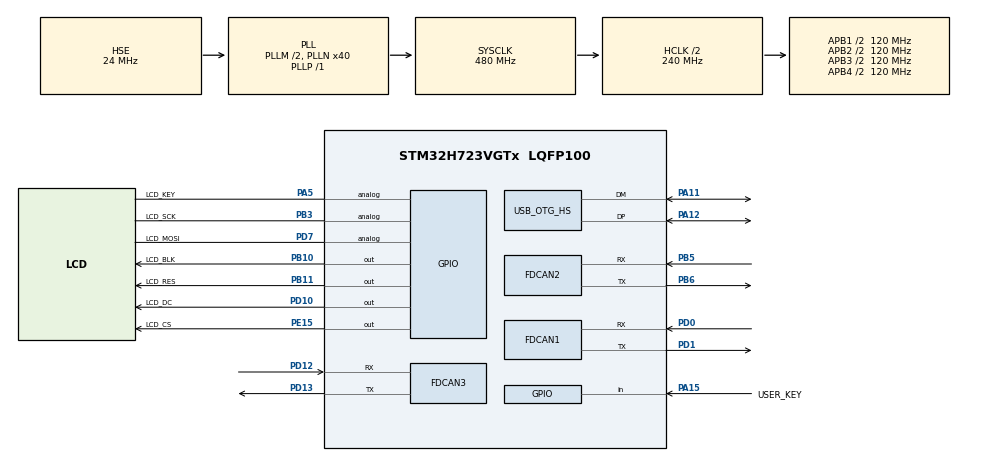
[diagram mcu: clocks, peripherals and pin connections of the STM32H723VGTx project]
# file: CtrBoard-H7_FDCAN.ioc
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CORTEX_M7.CPU_DCache=Enabled
CORTEX_M7.CPU_ICache=Enabled
FDCAN1.AutoRetransmission=ENABLE
FDCAN1.CalculateBaudRateNominal=1000000
FDCAN1.CalculateTimeBitNominal=1000
FDCAN1.CalculateTimeQuantumNominal=12.5
FDCAN1.DataSyncJumpWidth=2
FDCAN1.DataTimeSeg1=13
FDCAN1.DataTimeSeg2=2
FDCAN1.ExtFiltersNbr=4
FDCAN1.Mode=FDCAN_MODE_NORMAL
FDCAN1.NominalPrescaler=1
FDCAN1.NominalSyncJumpWidth=20
FDCAN1.NominalTimeSeg1=59
FDCAN1.NominalTimeSeg2=20
FDCAN1.ProtocolException=ENABLE
FDCAN1.RxBuffersNbr=2
FDCAN1.RxFifo0ElmtsNbr=8
FDCAN1.RxFifo1ElmtsNbr=8
FDCAN1.StdFiltersNbr=7
FDCAN1.TransmitPause=DISABLE
FDCAN1.TxBuffersNbr=8
FDCAN1.TxEventsNbr=8
FDCAN1.TxFifoQueueElmtsNbr=8
FDCAN2.AutoRetransmission=ENABLE
FDCAN2.CalculateBaudRateNominal=1000000
FDCAN2.CalculateTimeBitNominal=1000
FDCAN2.CalculateTimeQuantumNominal=12.5
FDCAN2.DataSyncJumpWidth=2
FDCAN2.DataTimeSeg1=13
FDCAN2.ExtFiltersNbr=4
FDCAN2.MessageRAMOffset=0x406
FDCAN2.Mode=FDCAN_MODE_NORMAL
FDCAN2.NominalPrescaler=1
FDCAN2.NominalSyncJumpWidth=20
FDCAN2.NominalTimeSeg1=59
FDCAN2.NominalTimeSeg2=20
FDCAN2.ProtocolException=ENABLE
FDCAN2.RxBuffersNbr=3
FDCAN2.RxFifo0ElmtsNbr=8
FDCAN2.RxFifo1ElmtsNbr=8
FDCAN2.StdFiltersNbr=4
FDCAN2.TxBuffersNbr=8
FDCAN2.TxEventsNbr=8
FDCAN2.TxFifoQueueElmtsNbr=8
FDCAN3.CalculateBaudRateNominal=1000000
FDCAN3.CalculateTimeBitNominal=1000
FDCAN3.CalculateTimeQuantumNominal=12.5
FDCAN3.DataSyncJumpWidth=2
FDCAN3.DataTimeSeg1=13
FDCAN3.DataTimeSeg2=2
FDCAN3.ExtFiltersNbr=4
FDCAN3.MessageRAMOffset=0x812
FDCAN3.Mode=FDCAN_MODE_NORMAL
FDCAN3.NominalPrescaler=1
FDCAN3.NominalSyncJumpWidth=20
FDCAN3.NominalTimeSeg1=59
FDCAN3.NominalTimeSeg2=20
FDCAN3.RxBuffersNbr=2
FDCAN3.RxFifo0ElmtsNbr=8
FDCAN3.RxFifo1ElmtsNbr=8
FDCAN3.StdFiltersNbr=4
FDCAN3.TxBuffersNbr=8
FDCAN3.TxEventsNbr=8
FDCAN3.TxFifoQueueElmtsNbr=8
FREERTOS.INCLUDE_uxTaskGetStackHighWaterMark=1
FREERTOS.INCLUDE_vTaskDelayUntil=1
FREERTOS.Tasks01=ArmControlTask,3,1280,StartArmControlTask,Default,NULL,Static,armControlTaskBuffer,armControlTaskControlBlock;CanRxTask,3,384,StartCanRxTask,Default,NULL,Static,canRxTaskBuffer,canRxTaskControlBlock;ProtocolTask,2,1280,StartProtocolTask,Default,NULL,Static,protocolTaskBuffer,protocolTaskControlBlock;UsbTxTask,1,384,StartUsbTxTask,Default,NULL,Static,usbTxTaskBuffer,usbTxTaskControlBlock;TelemetryTask,0,1024,StartTelemetryTask,Default,NULL,Static,telemetryTaskBuffer,telemetryTaskControlBlock;DiagnosticsTask,-1,384,StartDiagnosticsTask,Default,NULL,Static,diagnosticsTaskBuffer,diagnosticsTaskControlBlock
Mcu.Family=STM32H7
Mcu.Name=STM32H723VGTx
Mcu.Package=LQFP100
NVIC.FDCAN1_IT0_IRQn=true\:5\:0\:false\:false\:true\:true\:true\:true\:true
NVIC.FDCAN1_IT1_IRQn=true\:5\:0\:false\:false\:true\:true\:true\:true\:true
NVIC.FDCAN2_IT0_IRQn=true\:5\:0\:false\:false\:true\:true\:true\:true\:true
NVIC.FDCAN2_IT1_IRQn=true\:5\:0\:false\:false\:true\:true\:true\:true\:true
NVIC.FDCAN3_IT0_IRQn=true\:5\:0\:false\:false\:true\:true\:true\:true\:true
NVIC.FDCAN3_IT1_IRQn=true\:5\:0\:false\:false\:true\:true\:true\:true\:true
NVIC.OTG_HS_IRQn=true\:5\:0\:false\:false\:true\:true\:false\:true\:true
NVIC.PriorityGroup=NVIC_PRIORITYGROUP_4
NVIC.TIM23_IRQn=true\:15\:0\:false\:false\:true\:false\:false\:true\:true
NVIC.TimeBase=TIM23_IRQn
NVIC.TimeBaseIP=TIM23
PA11.Mode=Device_Only_FS
PA11.Signal=USB_OTG_HS_DM
PA12.Mode=Device_Only_FS
PA12.Signal=USB_OTG_HS_DP
PA13(JTMS/SWDIO).Mode=Serial_Wire
PA13(JTMS/SWDIO).Signal=DEBUG_JTMS-SWDIO
PA14(JTCK/SWCLK).Mode=Serial_Wire
PA14(JTCK/SWCLK).Signal=DEBUG_JTCK-SWCLK
PA15(JTDI).GPIO_Label=USER_KEY
PA15(JTDI).Signal=GPIO_Input
# LCD pins are reserved here at safe GPIO levels. App/Platform owns optional
# SPI1/DMA1_Stream0/ADC1 setup and IRQ enable; do not generate duplicate handles.
PA5.GPIO_Label=LCD_KEY
PA5.Signal=GPIO_Analog
PB10.GPIO_Label=LCD_BLK
PB10.Signal=GPIO_Output
PB11.GPIO_Label=LCD_RES
PB11.Signal=GPIO_Output
PB3(JTDO/TRACESWO).GPIO_Label=LCD_SCK
PB3(JTDO/TRACESWO).Signal=GPIO_Analog
PB5.Mode=FDCAN_Activate
PB5.Signal=FDCAN2_RX
PB6.Mode=FDCAN_Activate
PB6.Signal=FDCAN2_TX
PD0.Mode=FDCAN_Activate
PD0.Signal=FDCAN1_RX
PD1.Mode=FDCAN_Activate
PD1.Signal=FDCAN1_TX
PD7.GPIO_Label=LCD_MOSI
PD7.Signal=GPIO_Analog
PD10.GPIO_Label=LCD_DC
PD10.Signal=GPIO_Output
PD12.Mode=FDCAN_Activate
PD12.Signal=FDCAN3_RX
PD13.Mode=FDCAN_Activate
PD13.Signal=FDCAN3_TX
PE15.GPIO_Label=LCD_CS
PE15.PinState=GPIO_PIN_SET
PE15.Signal=GPIO_Output
PH0-OSC_IN.Mode=HSE-External-Oscillator
PH0-OSC_IN.Signal=RCC_OSC_IN
PH1-OSC_OUT.Mode=HSE-External-Oscillator
PH1-OSC_OUT.Signal=RCC_OSC_OUT
ProjectManager.HeapSize=0x200
ProjectManager.StackSize=0x400
ProjectManager.TargetToolchain=MDK-ARM V5.32
RCC.ADCFreq_Value=48375000
RCC.APB1Freq_Value=120000000
RCC.APB2Freq_Value=120000000
RCC.APB3Freq_Value=120000000
RCC.APB4Freq_Value=120000000
RCC.CortexFreq_Value=480000000
RCC.D1PPRE=RCC_APB3_DIV2
RCC.D2PPRE1=RCC_APB1_DIV2
RCC.D2PPRE2=RCC_APB2_DIV2
RCC.D3PPRE=RCC_APB4_DIV2
RCC.DIVM1=2
RCC.DIVN1=40
RCC.DIVP1=1
RCC.DIVQ1=6
RCC.HCLKFreq_Value=240000000
RCC.HPRE=RCC_HCLK_DIV2
RCC.HSE_VALUE=24000000
RCC.PLLFRACN=0
RCC.PLLSourceVirtual=RCC_PLLSOURCE_HSE
RCC.SYSCLKFreq_VALUE=480000000
RCC.SYSCLKSource=RCC_SYSCLKSOURCE_PLLCLK
RCC.USBCLockSelection=RCC_USBCLKSOURCE_HSI48
RCC.USBFreq_Value=48000000
USB_DEVICE.CLASS_NAME_HS=CDC
USB_DEVICE.VirtualMode=Cdc
USB_DEVICE.VirtualModeHS=Cdc_HS
USB_OTG_HS.VirtualMode-Device_Only_FS=Device_Only_FS
VP_FREERTOS_VS_CMSIS_V1.Mode=CMSIS_V1
VP_SYS_VS_tim23.Mode=TIM23
VP_USB_DEVICE_VS_USB_DEVICE_CDC_HS.Mode=CDC_HS
board=custom

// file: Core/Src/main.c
/* USER CODE BEGIN Header */
/**
  ******************************************************************************
  * @file           : main.c
  * @brief          : Main program body
  ******************************************************************************
  * @attention
  *
  * Copyright (c) 2024 STMicroelectronics.
  * All rights reserved.
  *
  * This software is licensed under terms that can be found in the LICENSE file
  * in the root directory of this software component.
  * If no LICENSE file comes with this software, it is provided AS-IS.
  *
  ******************************************************************************
  */
/* USER CODE END Header */
#include "main.h"
#include "cmsis_os.h"
#include "fdcan.h"
#include "usb_device.h"
#include "gpio.h"

/* USER CODE BEGIN Includes */
#include "aethor_app.h"
#include "arm_config.h"
#include "stm32_platform.h"
#include "usbd_cdc_if.h"
#if AETHOR_ADRC_BENCH || AETHOR_ADRC_LCD_INTEGRATED
#include "stm32_adrc_channel.h"
#endif
/* USER CODE END Includes */

void SystemClock_Config(void);
void MX_FREERTOS_Init(void);
/* USER CODE BEGIN PFP */
static uint32_t CreateBootId(void);

/* USER CODE END PFP */

int main(void)
{

  /* Enable the CPU Cache */

  /* Enable I-Cache---------------------------------------------------------*/
  SCB_EnableICache();

  /* Enable D-Cache---------------------------------------------------------*/
  SCB_EnableDCache();

  /* MCU Configuration--------------------------------------------------------*/

  /* Reset of all peripherals, Initializes the Flash interface and the Systick. */
  HAL_Init();

  /* Configure the system clock */
  SystemClock_Config();

  /* Initialize all configured peripherals */
  MX_GPIO_Init();
  MX_FDCAN1_Init();
  MX_FDCAN2_Init();
  MX_FDCAN3_Init();
  /* USER CODE BEGIN 2 */
  (void)stm32_platform_init(arm_config_get_production());
  aethor_app_init((uint64_t)HAL_GetTick() * 1000ULL, CreateBootId());
#if defined(AETHOR_MOTOR_PERSISTENCE_TRANSPORT) && AETHOR_MOTOR_PERSISTENCE_TRANSPORT
  aethor_app_bind_remote_release_probes(stm32_platform_remote_release_is_idle, CDC_PersistenceLinkState_HS);
#endif
  /* USER CODE END 2 */

  /* Call init function for freertos objects (in cmsis_os2.c) */
  MX_FREERTOS_Init();

  /* Start scheduler */
  osKernelStart();

  /* We should never get here as control is now taken by the scheduler */

  /* Infinite loop */
  while (1)
  {

  }
}

void SystemClock_Config(void)
{
  RCC_OscInitTypeDef RCC_OscInitStruct = {0};
  RCC_ClkInitTypeDef RCC_ClkInitStruct = {0};

  /** Supply configuration update enable
  */
  HAL_PWREx_ConfigSupply(PWR_LDO_SUPPLY);

  /** Configure the main internal regulator output voltage
  */
  __HAL_PWR_VOLTAGESCALING_CONFIG(PWR_REGULATOR_VOLTAGE_SCALE0);

  while(!__HAL_PWR_GET_FLAG(PWR_FLAG_VOSRDY)) {}

  /** Initializes the RCC Oscillators according to the specified parameters
  * in the RCC_OscInitTypeDef structure.
  */
  RCC_OscInitStruct.OscillatorType = RCC_OSCILLATORTYPE_HSI48|RCC_OSCILLATORTYPE_HSE;
  RCC_OscInitStruct.HSEState = RCC_HSE_ON;
  RCC_OscInitStruct.HSI48State = RCC_HSI48_ON;
  RCC_OscInitStruct.PLL.PLLState = RCC_PLL_ON;
  RCC_OscInitStruct.PLL.PLLSource = RCC_PLLSOURCE_HSE;
  RCC_OscInitStruct.PLL.PLLM = 2;
  RCC_OscInitStruct.PLL.PLLN = 40;
  RCC_OscInitStruct.PLL.PLLP = 1;
  RCC_OscInitStruct.PLL.PLLQ = 6;
  RCC_OscInitStruct.PLL.PLLR = 2;
  RCC_OscInitStruct.PLL.PLLRGE = RCC_PLL1VCIRANGE_3;
  RCC_OscInitStruct.PLL.PLLVCOSEL = RCC_PLL1VCOWIDE;
  RCC_OscInitStruct.PLL.PLLFRACN = 0;
  if (HAL_RCC_OscConfig(&RCC_OscInitStruct) != HAL_OK)
  {
    Error_Handler();
  }

  /** Initializes the CPU, AHB and APB buses clocks
  */
  RCC_ClkInitStruct.ClockType = RCC_CLOCKTYPE_HCLK|RCC_CLOCKTYPE_SYSCLK
                              |RCC_CLOCKTYPE_PCLK1|RCC_CLOCKTYPE_PCLK2
                              |RCC_CLOCKTYPE_D3PCLK1|RCC_CLOCKTYPE_D1PCLK1;
  RCC_ClkInitStruct.SYSCLKSource = RCC_SYSCLKSOURCE_PLLCLK;
  RCC_ClkInitStruct.SYSCLKDivider = RCC_SYSCLK_DIV1;
  RCC_ClkInitStruct.AHBCLKDivider = RCC_HCLK_DIV2;
  RCC_ClkInitStruct.APB3CLKDivider = RCC_APB3_DIV2;
  RCC_ClkInitStruct.APB1CLKDivider = RCC_APB1_DIV2;
  RCC_ClkInitStruct.APB2CLKDivider = RCC_APB2_DIV2;
  RCC_ClkInitStruct.APB4CLKDivider = RCC_APB4_DIV2;

  if (HAL_RCC_ClockConfig(&RCC_ClkInitStruct, FLASH_LATENCY_3) != HAL_OK)
  {
    Error_Handler();
  }
}

/* USER CODE BEGIN 4 */

/**
  * @brief  Creates a nonzero per-boot correlation identifier from local MCU state.
  * @retval Nonzero boot identifier used by the serial protocol.
  */
static uint32_t CreateBootId(void)
{
  uint32_t bootId = HAL_GetUIDw0() ^ HAL_GetUIDw1() ^ HAL_GetUIDw2() ^
                    HAL_GetTick() ^ SysTick->VAL ^ DWT->CYCCNT ^ 0xA37E2026UL;

  if (bootId == 0U)
  {
    bootId = 1U;
  }
  return bootId;
}

/* USER CODE END 4 */

void HAL_TIM_PeriodElapsedCallback(TIM_HandleTypeDef *htim)
{
  if (htim->Instance == TIM23) {
    HAL_IncTick();
#if AETHOR_ADRC_BENCH || AETHOR_ADRC_LCD_INTEGRATED
    /* Preloaded DISABLE remains serviceable when the control task stops scheduling. */
    stm32_adrc_guard_tick_isr(HAL_GetTick());
#endif
  }
}

void Error_Handler(void)
{
  __disable_irq();
  while (1)
  {
  }
}

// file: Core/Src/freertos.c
/* USER CODE BEGIN Header */
/**
  ******************************************************************************
  * File Name          : freertos.c
  * Description        : Code for freertos applications
  * Maintenance CAN bridging is opt-in; default builds retain the existing transport.
  ******************************************************************************
  * @attention
  *
  * Copyright (c) 2026 STMicroelectronics.
  * All rights reserved.
  *
  * This software is licensed under terms that can be found in the LICENSE file
  * in the root directory of this software component.
  * If no LICENSE file comes with this software, it is provided AS-IS.
  *
  ******************************************************************************
  */
/* USER CODE END Header */

#include "FreeRTOS.h"
#include "task.h"
#include "main.h"
#include "cmsis_os.h"

/* USER CODE BEGIN Includes */
#include "aethor_app.h"
#include "monotonic_time.h"
#include "stm32_platform.h"
#include "debug_ui_config.h"
#include "aethor_task_stacks.h"
#include "adrc_build_config.h"
#if AETHOR_MOTOR_PERSISTENCE_TRANSPORT
#include "motor_persistence_app_port.h"
#include "usbd_cdc_if.h"
#endif
#if AETHOR_ADRC_BENCH || AETHOR_ADRC_LCD_INTEGRATED
#include "stm32_adrc_channel.h"
#if TICK_INT_PRIORITY >= configLIBRARY_MAX_SYSCALL_INTERRUPT_PRIORITY
#error "ADRC stop timer must remain above the FreeRTOS BASEPRI mask."
#endif
#endif
#if AETHOR_DEBUG_UI_ENABLE
#include "debug_ui_task.h"
#endif
#include <string.h>
/* USER CODE END Includes */

/* USER CODE BEGIN PD */
#if AETHOR_DEBUG_UI_ENABLE
#define AETHOR_STATIC_TASK_COUNT (7U)
#else
#define AETHOR_STATIC_TASK_COUNT (6U)
#endif
/* USER CODE END PD */

/* USER CODE BEGIN Variables */
static AethorMonotonicTimeState aethorMonotonicTimeState;
#if AETHOR_DEBUG_UI_ENABLE
static osThreadId DebugUiTaskHandle;
static uint32_t debugUiTaskBuffer[2048];
static osStaticThreadDef_t debugUiTaskControlBlock;
static uint32_t controlExecutionMaxUs;
static uint32_t controlPeriodMaxUs;
static uint32_t controlPreviousCycle;
static uint8_t controlCycleValid;
#endif
/* USER CODE END Variables */
osThreadId ArmControlTaskHandle;
uint32_t armControlTaskBuffer[ 1280 ];
osStaticThreadDef_t armControlTaskControlBlock;
osThreadId CanRxTaskHandle;
uint32_t canRxTaskBuffer[ AETHOR_CAN_RX_TASK_STACK_WORDS ];
osStaticThreadDef_t canRxTaskControlBlock;
osThreadId ProtocolTaskHandle;
uint32_t protocolTaskBuffer[ AETHOR_PROTOCOL_TASK_STACK_WORDS ];
osStaticThreadDef_t protocolTaskControlBlock;
osThreadId UsbTxTaskHandle;
uint32_t usbTxTaskBuffer[ 384 ];
osStaticThreadDef_t usbTxTaskControlBlock;
osThreadId TelemetryTaskHandle;
uint32_t telemetryTaskBuffer[ 1024 ];
osStaticThreadDef_t telemetryTaskControlBlock;
osThreadId DiagnosticsTaskHandle;
uint32_t diagnosticsTaskBuffer[ AETHOR_DIAGNOSTICS_TASK_STACK_WORDS ];
osStaticThreadDef_t diagnosticsTaskControlBlock;

/* USER CODE BEGIN FunctionPrototypes */
static void NotifyCanRxTaskFromIsr(void);
static void NotifyProtocolTaskFromIsr(void);
static void NotifyUsbTxTaskFromIsr(void);
static void QueueProtocolOutputBatch(const ProtocolOutputBatch *outputBatch);
static uint64_t AethorMonotonicTimestampUs(void);
static void EnterAethorAppTaskCritical(void);
static void ExitAethorAppTaskCritical(void);
/* BEGIN_PERSISTENCE_CORE_BRIDGE */
#if AETHOR_MOTOR_PERSISTENCE_TRANSPORT
/** @brief Recheck the entire USB callback word under Platform's IRQ mask before committing the parameter pair. */
static uint8_t PersistenceParameterSubmitted(const MotorPersistenceIdentity *identity, uint64_t boundaryUs)
{
  aethor_app_persistence_observe_link(CDC_PersistenceLinkState_HS(), boundaryUs);
  return aethor_app_persistence_parameter_submitted(identity, boundaryUs);
}

/** @brief Recheck the current USB binding before committing the independent maintenance DISABLE identity. */
static uint8_t PersistenceDisableSubmitted(const DebugUiStaticTxIdentity *identity, uint64_t boundaryUs)
{
  aethor_app_persistence_observe_link(CDC_PersistenceLinkState_HS(), boundaryUs);
  return aethor_app_persistence_disable_submitted(identity, boundaryUs);
}

/** @brief Cancel only the outstanding original identity; Platform retains ownership until its hardware debt clears. */
static void CancelPersistenceTransfer(void)
{
  MotorPersistenceIdentity identity;
  if (aethor_app_persistence_cancel_identity(&identity))
  { (void)stm32_platform_can_cancel_persistence(&identity); }
}

/** @brief Sole maintenance receipt consumer preserves immutable identity and completion-observation time. */
static void CollectPersistenceReceipt(uint64_t observedUs)
{
  MotorPersistenceIdentity identity;
  uint64_t completedObservedUs;
  uint8_t succeeded;
  CancelPersistenceTransfer();
  if (stm32_platform_can_collect_persistence(&identity, observedUs, &completedObservedUs, &succeeded))
  { aethor_app_persistence_parameter_transmitted(&identity, succeeded, completedObservedUs, observedUs); }
}

/** @brief Route one immutable maintenance pair before legacy byte classifiers; refusal never falls through or retries. */
static void ServicePersistenceTransfer(uint64_t observedUs)
{
  AethorPersistenceTransfer transfer;
  uint8_t accepted = 0U;
  CancelPersistenceTransfer();
  if (!aethor_app_persistence_next_transfer(observedUs, &transfer)) return;
  if (transfer.kind == AETHOR_PERSISTENCE_TRANSFER_PARAMETER)
  {
    accepted = stm32_platform_can_submit_persistence(&transfer.frame, &transfer.parameter_identity,
        observedUs, MOTOR_PERSISTENCE_FRAME_BUDGET_US, PersistenceParameterSubmitted);
  }
  else if (transfer.kind == AETHOR_PERSISTENCE_TRANSFER_DISABLE)
  {
    accepted = stm32_platform_can_submit_static(&transfer.frame, &transfer.disable_identity,
        aethor_app_debug_ui_preflight_timeout_us(), PersistenceDisableSubmitted);
  }
  if (!accepted) aethor_app_persistence_transfer_rejected(&transfer, observedUs);
}
#endif
/* END_PERSISTENCE_CORE_BRIDGE */
#if AETHOR_DEBUG_UI_ALLOW_MOTION && (AETHOR_DEBUG_UI_ALLOW_STATIC_LOAD || AETHOR_DEBUG_UI_ALLOW_SINGLE_STATIC_LOAD || AETHOR_DEBUG_UI_ALLOW_POS_LOAD_TEST)
/** @brief Forward only the dedicated LCD DISABLE receipt; polling time never becomes feedback time. */
static void CollectSingleStaticReceipt(void)
{
  DebugUiStaticTxIdentity identity;
  uint8_t succeeded;
  uint16_t sof;
  if (stm32_platform_can_collect_static(&identity, &succeeded, &sof))
  {
    uint64_t observedUs = AethorMonotonicTimestampUs();
#if AETHOR_MOTOR_PERSISTENCE_TRANSPORT
    if (aethor_app_persistence_disable_transmitted(&identity, succeeded, sof, observedUs)) return;
#endif
    aethor_app_static_transmitted(&identity, succeeded, sof, observedUs);
  }
}
/* BEGIN_SINGLE_STATIC_RX_BRIDGE */
/** @brief Decode the immutable SOF tag and full strict identity; raw RX remains separate from accepted decode. */
static void ReceiveSingleStaticFrame(const CanFrame *frame, uint64_t arrivalLowerUs, uint64_t observedUs)
{
  DebugUiStaticTxIdentity orderedIdentity;
  uint16_t sof = 0U;
  uint8_t ordered, sofValid = 0U;
  CollectSingleStaticReceipt();
  ordered = stm32_platform_can_static_rx_identity(frame, &orderedIdentity, &sof, &sofValid);
#if AETHOR_MOTOR_PERSISTENCE_TRANSPORT
  /* A collected receipt can cross a board tick; retain arrival/SOF and refresh only the decode upper bound. */
  observedUs = AethorMonotonicTimestampUs();
  if (aethor_app_persistence_receive(frame, arrivalLowerUs, observedUs,
      ordered ? &orderedIdentity : NULL, sof, sofValid)) return;
#endif
  (void)aethor_app_receive_static_frame(frame, arrivalLowerUs, observedUs, ordered ? &orderedIdentity : NULL, sof, sofValid);
}
/* END_SINGLE_STATIC_RX_BRIDGE */
#endif
#if AETHOR_ADRC_BENCH || AETHOR_ADRC_LCD_INTEGRATED
/** @brief Forwards only the fixed capability FIFO receipt under the caller's task critical boundary. */
static void CollectCapabilityReceipt(uint64_t observed_us)
{
  CanFrame receiptFrame;
  uint8_t succeeded;
  if (stm32_platform_can_collect_capability_receipt(&receiptFrame, &succeeded))
  { aethor_app_adrc_report_capability_transmit(&receiptFrame, succeeded, observed_us); }
}
#endif

/* USER CODE END FunctionPrototypes */

void StartArmControlTask(void const * argument);
void StartCanRxTask(void const * argument);
void StartProtocolTask(void const * argument);
void StartUsbTxTask(void const * argument);
void StartTelemetryTask(void const * argument);
void StartDiagnosticsTask(void const * argument);

extern void MX_USB_DEVICE_Init(void);
void MX_FREERTOS_Init(void); /* (MISRA C 2004 rule 8.1) */

/* GetIdleTaskMemory prototype (linked to static allocation support) */
void vApplicationGetIdleTaskMemory( StaticTask_t **ppxIdleTaskTCBBuffer, StackType_t **ppxIdleTaskStackBuffer, uint32_t *pulIdleTaskStackSize );

/* USER CODE BEGIN GET_IDLE_TASK_MEMORY */
static StaticTask_t xIdleTaskTCBBuffer;
static StackType_t xIdleStack[configMINIMAL_STACK_SIZE];

void vApplicationGetIdleTaskMemory( StaticTask_t **ppxIdleTaskTCBBuffer, StackType_t **ppxIdleTaskStackBuffer, uint32_t *pulIdleTaskStackSize )
{
  *ppxIdleTaskTCBBuffer = &xIdleTaskTCBBuffer;
  *ppxIdleTaskStackBuffer = &xIdleStack[0];
  *pulIdleTaskStackSize = configMINIMAL_STACK_SIZE;
  /* place for user code */
}
/* USER CODE END GET_IDLE_TASK_MEMORY */

void MX_FREERTOS_Init(void) {
  /* USER CODE BEGIN Init */
  aethor_app_set_task_critical_hooks(EnterAethorAppTaskCritical,
                                     ExitAethorAppTaskCritical);
#if AETHOR_DEBUG_UI_ENABLE
  /* Internal DWT counting does not enable the PB3 SWO output pin. */
  CoreDebug->DEMCR |= CoreDebug_DEMCR_TRCENA_Msk;
  DWT->CYCCNT = 0U;
  DWT->CTRL |= DWT_CTRL_CYCCNTENA_Msk;
#endif

  /* USER CODE END Init */

  /* Create the thread(s) */
  /* definition and creation of ArmControlTask */
  /* Result metadata extends cleanup depth: Keil reports >=3152 B before IRQ context. */
  osThreadStaticDef(ArmControlTask, StartArmControlTask, osPriorityRealtime, 0, 1280, armControlTaskBuffer, &armControlTaskControlBlock);
  ArmControlTaskHandle = osThreadCreate(osThread(ArmControlTask), NULL);

  /* definition and creation of CanRxTask */
  osThreadStaticDef(CanRxTask, StartCanRxTask, osPriorityHigh, 0, AETHOR_CAN_RX_TASK_STACK_WORDS, canRxTaskBuffer, &canRxTaskControlBlock);
  CanRxTaskHandle = osThreadCreate(osThread(CanRxTask), NULL);

  /* definition and creation of ProtocolTask */
  osThreadStaticDef(ProtocolTask, StartProtocolTask, osPriorityAboveNormal, 0, AETHOR_PROTOCOL_TASK_STACK_WORDS, protocolTaskBuffer, &protocolTaskControlBlock);
  ProtocolTaskHandle = osThreadCreate(osThread(ProtocolTask), NULL);

  /* definition and creation of UsbTxTask */
  osThreadStaticDef(UsbTxTask, StartUsbTxTask, osPriorityNormal, 0, 384, usbTxTaskBuffer, &usbTxTaskControlBlock);
  UsbTxTaskHandle = osThreadCreate(osThread(UsbTxTask), NULL);

  /* definition and creation of TelemetryTask */
  osThreadStaticDef(TelemetryTask, StartTelemetryTask, osPriorityBelowNormal, 0, 1024, telemetryTaskBuffer, &telemetryTaskControlBlock);
  TelemetryTaskHandle = osThreadCreate(osThread(TelemetryTask), NULL);

  /* definition and creation of DiagnosticsTask */
  osThreadStaticDef(DiagnosticsTask, StartDiagnosticsTask, osPriorityLow, 0, AETHOR_DIAGNOSTICS_TASK_STACK_WORDS, diagnosticsTaskBuffer, &diagnosticsTaskControlBlock);
  DiagnosticsTaskHandle = osThreadCreate(osThread(DiagnosticsTask), NULL);

  /* USER CODE BEGIN RTOS_THREADS */
#if AETHOR_DEBUG_UI_ENABLE
  osThreadStaticDef(DebugUiTask, StartDebugUiTask, osPriorityLow, 0, 2048, debugUiTaskBuffer, &debugUiTaskControlBlock);
  DebugUiTaskHandle = osThreadCreate(osThread(DebugUiTask), NULL);
  configASSERT(DebugUiTaskHandle != NULL);
#endif
  configASSERT(ArmControlTaskHandle != NULL);
  configASSERT(CanRxTaskHandle != NULL);
  configASSERT(ProtocolTaskHandle != NULL);
  configASSERT(UsbTxTaskHandle != NULL);
  configASSERT(TelemetryTaskHandle != NULL);
  configASSERT(DiagnosticsTaskHandle != NULL);
  stm32_platform_set_isr_notifiers(NotifyCanRxTaskFromIsr,
                                   NotifyProtocolTaskFromIsr,
                                   NotifyUsbTxTaskFromIsr);
  /* USER CODE END RTOS_THREADS */

}

/* USER CODE BEGIN Header_StartArmControlTask */
/**
  * @brief  Runs the 4 ms absolute-period arm control service.
  * @param  argument: Not used
  * @retval None
  */
/* USER CODE END Header_StartArmControlTask */
#if AETHOR_ADRC_BENCH || AETHOR_ADRC_LCD_INTEGRATED
/** @brief Samples the independent timer immediately, avoiding an older control-task timestamp. */
static uint8_t ArmSimpleGuard(const CanFrame *frame, uint32_t sampled_ms)
{
  (void)sampled_ms;
  return stm32_adrc_guard_arm_trial(frame, HAL_GetTick());
}

/** @brief Renews only through the platform's hardware-clock and expiry checks. */
static uint8_t RenewSimpleGuard(uint32_t sampled_ms)
{
  (void)sampled_ms;
  return stm32_adrc_guard_renew_trial(HAL_GetTick());
}
#endif

void StartArmControlTask(void const * argument)
{
  /* USER CODE BEGIN StartArmControlTask */
  TickType_t lastWakeTime = xTaskGetTickCount();

  (void)argument;
#if AETHOR_ADRC_BENCH || AETHOR_ADRC_LCD_INTEGRATED
  /* Dedicated buffer bookkeeping is owned only by this control task. */
  stm32_adrc_channel_init();
  {
    AdrcStopGuardHooks guardHooks;
    guardHooks.arm = stm32_adrc_guard_arm;
    guardHooks.observe = stm32_adrc_guard_observe;
    guardHooks.ack_disabled = stm32_adrc_guard_ack_disabled;
    aethor_app_adrc_set_guard_hooks(&guardHooks);
    {
      AdrcSimpleGuardHooks simpleHooks;
      simpleHooks.arm_trial = ArmSimpleGuard;
      simpleHooks.renew_trial = RenewSimpleGuard;
      aethor_app_adrc_set_simple_guard_hooks(&simpleHooks);
    }
  }
#endif
  for(;;)
  {
#if AETHOR_DEBUG_UI_ENABLE
    uint32_t controlStartCycle = DWT->CYCCNT;
    uint32_t cyclesPerMicrosecond = SystemCoreClock / 1000000U;
#endif
    uint64_t timestampUs = AethorMonotonicTimestampUs();
    CanFrame pendingFrame;
    CanFrame controlGroup[ARM_JOINT_COUNT];
    CanTxPriority pendingPriority;

#if AETHOR_ADRC_BENCH || AETHOR_ADRC_LCD_INTEGRATED
    AdrcCanReceipt adrcReceipt = stm32_adrc_channel_collect();
    if (adrcReceipt.available != 0U)
    {
      uint64_t completedObservedUs;
      /* Sample after TXBTO collection: this is the decode observation upper bound. */
      taskENTER_CRITICAL();
      completedObservedUs = AethorMonotonicTimestampUs();
      taskEXIT_CRITICAL();
#if AETHOR_ADRC_LCD_INTEGRATED
      if (adrcReceipt.kind == ADRC_CAN_PROBE)
      { aethor_app_integrated_report_probe_transmit(adrcReceipt.transmitted, completedObservedUs); }
      else
      { aethor_app_adrc_report_transmit_at((uint8_t)adrcReceipt.kind,
          adrcReceipt.decoded_torque_nm, adrcReceipt.transmitted, completedObservedUs); }
#else
      aethor_app_adrc_report_transmit_at((uint8_t)adrcReceipt.kind,
          adrcReceipt.decoded_torque_nm, adrcReceipt.transmitted, completedObservedUs);
#endif
    }
#endif
#if AETHOR_ADRC_LCD_INTEGRATED
    aethor_app_integrated_set_can_idle(stm32_platform_can_is_idle(), timestampUs);
#endif
    /* Time is sampled before FIFO inspection; critical protects the shared 64-bit bound. */
    taskENTER_CRITICAL();
    timestampUs = AethorMonotonicTimestampUs();
#if AETHOR_MOTOR_PERSISTENCE_TRANSPORT
    aethor_app_persistence_observe_link(CDC_PersistenceLinkState_HS(), timestampUs);
    CollectPersistenceReceipt(timestampUs);
#endif
#if AETHOR_ADRC_BENCH || AETHOR_ADRC_LCD_INTEGRATED
    CollectCapabilityReceipt(timestampUs);
#endif
    stm32_platform_can_observe_rx_boundary(timestampUs);
#if AETHOR_DEBUG_UI_ALLOW_MOTION && (AETHOR_DEBUG_UI_ALLOW_STATIC_LOAD || AETHOR_DEBUG_UI_ALLOW_SINGLE_STATIC_LOAD || AETHOR_DEBUG_UI_ALLOW_POS_LOAD_TEST)
    CollectSingleStaticReceipt();
#endif
#if AETHOR_ADRC_BENCH || AETHOR_ADRC_LCD_INTEGRATED
    aethor_app_adrc_observe_capability_rx_boundary(stm32_platform_can_capability_rx_boundary());
#endif
#if AETHOR_MOTOR_PERSISTENCE_TRANSPORT
    /* A receipt may have advanced the maintenance clock after the FIFO lower bound was sampled. */
    timestampUs = AethorMonotonicTimestampUs();
#endif
    taskEXIT_CRITICAL();
    if ((aethor_app_service(timestampUs) != 0U) &&
        (ProtocolTaskHandle != NULL))
    {
      (void)xTaskNotifyGive((TaskHandle_t)ProtocolTaskHandle);
    }
#if AETHOR_ADRC_BENCH || AETHOR_ADRC_LCD_INTEGRATED
    {
      uint8_t guardPauseMs = aethor_app_adrc_take_guard_pause();
      if (guardPauseMs != 0U)
      {
        /* Disabled-only proof: leave interrupts and other tasks running, with
         * no control service or transmission collection until after deadline. */
        vTaskDelay(pdMS_TO_TICKS(guardPauseMs));
        lastWakeTime = xTaskGetTickCount();
        continue;
      }
    }
    {
      uint8_t adrcKind = 0U;
      float decodedTorqueNm = 0.0F;
#if AETHOR_MOTOR_PERSISTENCE_TRANSPORT
      uint32_t admissionGeneration;
#endif
      /* Preserve one ordering: previous RX bound <= challenge timestamp <= TX request. */
      taskENTER_CRITICAL();
      timestampUs = AethorMonotonicTimestampUs();
#if AETHOR_MOTOR_PERSISTENCE_TRANSPORT
      admissionGeneration = aethor_app_persistence_admission_generation();
      if (!aethor_app_persistence_locked())
      {
#endif
#if AETHOR_ADRC_LCD_INTEGRATED
      if (aethor_app_integrated_pop_probe_frame(&pendingFrame, timestampUs) != 0U)
      {
        if (
#if AETHOR_MOTOR_PERSISTENCE_TRANSPORT
            !aethor_app_persistence_allow_ordinary(admissionGeneration) ||
#endif
            stm32_adrc_channel_submit(&pendingFrame, ADRC_CAN_PROBE, 0.0F) == 0U)
        { aethor_app_integrated_report_probe_transmit(0U, timestampUs); }
      }
      else
#endif
      if (aethor_app_adrc_pop_frame(&pendingFrame, &adrcKind, &decodedTorqueNm) != 0U)
      {
        if (
#if AETHOR_MOTOR_PERSISTENCE_TRANSPORT
            !aethor_app_persistence_allow_ordinary(admissionGeneration) ||
#endif
            stm32_adrc_channel_submit(&pendingFrame, (AdrcCanKind)adrcKind, decodedTorqueNm) == 0U)
        {
          aethor_app_adrc_report_transmit_at(adrcKind, decodedTorqueNm, 0U, timestampUs);
        }
        else
        { aethor_app_adrc_report_disable_submit_at(adrcKind, timestampUs); }
      }
#if AETHOR_MOTOR_PERSISTENCE_TRANSPORT
      }
#endif
      taskEXIT_CRITICAL();
    }
#endif
    while (aethor_app_pop_emergency_can_frame(&pendingFrame) != 0U)
    {
#if AETHOR_ADRC_LCD_INTEGRATED
      aethor_app_integrated_note_legacy_can_activity();
#endif
      CanTxSchedulerStatus emergencyStatus;
#if AETHOR_DEBUG_UI_ALLOW_MOTION && (AETHOR_DEBUG_UI_ALLOW_STATIC_LOAD || AETHOR_DEBUG_UI_ALLOW_SINGLE_STATIC_LOAD || AETHOR_DEBUG_UI_ALLOW_POS_LOAD_TEST)
      DebugUiStaticTxIdentity terminalIdentity;
      uint8_t strictTerminal = 0U;
      taskENTER_CRITICAL();
      /* A POS stop must retain actual TX/SOF proof even when the result ring is full. */
      if (aethor_app_pos_load_terminal_frame_identity(&pendingFrame, &terminalIdentity) &&
          terminalIdentity.phase == DEBUG_UI_STATIC_TX_POS_DISABLE)
      {
        strictTerminal = 1U;
        emergencyStatus = stm32_platform_can_submit_static(&pendingFrame, &terminalIdentity,
            aethor_app_debug_ui_preflight_timeout_us(), aethor_app_static_submitted)
            ? CAN_TX_SCHEDULER_STATUS_OK : CAN_TX_SCHEDULER_STATUS_FULL;
        if (emergencyStatus != CAN_TX_SCHEDULER_STATUS_OK)
        {
          /* Still attempt physical DISABLE; missing strict proof must remain unconfirmed. */
          aethor_app_static_transmitted(&terminalIdentity, 0U, 0U, AethorMonotonicTimestampUs());
          strictTerminal = 0U;
          emergencyStatus = stm32_platform_can_submit(CAN_TX_PRIORITY_EMERGENCY, &pendingFrame);
        }
      }
      else { emergencyStatus = stm32_platform_can_submit(CAN_TX_PRIORITY_EMERGENCY, &pendingFrame); }
      taskEXIT_CRITICAL();
      aethor_app_static_can_queued(&pendingFrame, emergencyStatus == CAN_TX_SCHEDULER_STATUS_OK,
          strictTerminal, AethorMonotonicTimestampUs());
#else
      emergencyStatus = stm32_platform_can_submit(CAN_TX_PRIORITY_EMERGENCY, &pendingFrame);
      (void)emergencyStatus;
#endif
    }
#if AETHOR_MOTOR_PERSISTENCE_TRANSPORT
    taskENTER_CRITICAL();
    timestampUs = AethorMonotonicTimestampUs();
    ServicePersistenceTransfer(timestampUs);
    taskEXIT_CRITICAL();
    {
      uint32_t groupAdmissionGeneration;
      taskENTER_CRITICAL();
      groupAdmissionGeneration = aethor_app_persistence_admission_generation();
#endif
    if (aethor_app_pop_control_group(controlGroup) != 0U)
    {
#if AETHOR_ADRC_LCD_INTEGRATED
      aethor_app_integrated_note_legacy_can_activity();
#endif
      CanTxSchedulerStatus controlGroupStatus;
#if AETHOR_MOTOR_PERSISTENCE_TRANSPORT
      if (!aethor_app_persistence_allow_ordinary(groupAdmissionGeneration))
      { controlGroupStatus = CAN_TX_SCHEDULER_STATUS_GROUP_REJECTED; }
      else
#endif
      controlGroupStatus = stm32_platform_can_submit_control_group(controlGroup,
                                                  ARM_JOINT_COUNT);

      if ((controlGroupStatus != CAN_TX_SCHEDULER_STATUS_OK) &&
          (aethor_app_report_control_group_failure(controlGroupStatus,
                                                   timestampUs) != 0U) &&
          (ProtocolTaskHandle != NULL))
      {
        (void)xTaskNotifyGive((TaskHandle_t)ProtocolTaskHandle);
      }
    }
#if AETHOR_MOTOR_PERSISTENCE_TRANSPORT
      taskEXIT_CRITICAL();
    }
    {
      uint32_t frameAdmissionGeneration;
      taskENTER_CRITICAL();
      frameAdmissionGeneration = aethor_app_persistence_admission_generation();
#endif
    if (aethor_app_next_can_frame(timestampUs,
                                  &pendingFrame,
                                  &pendingPriority) ==
        MOTOR_RUNTIME_STATUS_FRAME_READY)
    {
#if AETHOR_ADRC_LCD_INTEGRATED
      if (pendingPriority == CAN_TX_PRIORITY_FEEDBACK_QUERY)
      { aethor_app_integrated_note_idle_feedback_activity(); }
      else { aethor_app_integrated_note_legacy_can_activity(); }
#endif
      CanTxSchedulerStatus submitStatus;
#if AETHOR_DEBUG_UI_ALLOW_MOTION && (AETHOR_DEBUG_UI_ALLOW_STATIC_LOAD || AETHOR_DEBUG_UI_ALLOW_SINGLE_STATIC_LOAD || AETHOR_DEBUG_UI_ALLOW_POS_LOAD_TEST)
      DebugUiStaticTxIdentity preflightIdentity;
      uint8_t strictSubmission = 0U;
#if !AETHOR_MOTOR_PERSISTENCE_TRANSPORT
      taskENTER_CRITICAL();
#endif
#if AETHOR_MOTOR_PERSISTENCE_TRANSPORT
      if (pendingPriority != CAN_TX_PRIORITY_EMERGENCY &&
          !aethor_app_persistence_allow_ordinary(frameAdmissionGeneration))
      { submitStatus = CAN_TX_SCHEDULER_STATUS_GROUP_REJECTED; }
      else
#endif
      if (aethor_app_static_frame_identity(&pendingFrame, &preflightIdentity))
      {
        strictSubmission = 1U;
        submitStatus = stm32_platform_can_submit_static(&pendingFrame,
            &preflightIdentity, aethor_app_debug_ui_preflight_timeout_us(), aethor_app_static_submitted)
            ? CAN_TX_SCHEDULER_STATUS_OK : CAN_TX_SCHEDULER_STATUS_FULL;
        if (submitStatus != CAN_TX_SCHEDULER_STATUS_OK)
        {
          aethor_app_static_transmitted(&preflightIdentity, 0U, 0U, AethorMonotonicTimestampUs());
          if (preflightIdentity.phase == DEBUG_UI_STATIC_TX_POS_DISABLE)
          {
            /* Failed receipt reservation never suppresses the emergency physical stop. */
            strictSubmission = 0U;
            submitStatus = stm32_platform_can_submit(CAN_TX_PRIORITY_EMERGENCY, &pendingFrame);
          }
        }
      }
      else
      { submitStatus = stm32_platform_can_submit(pendingPriority, &pendingFrame); }
#if !AETHOR_MOTOR_PERSISTENCE_TRANSPORT
      taskEXIT_CRITICAL();
#endif
      aethor_app_static_can_queued(&pendingFrame, submitStatus == CAN_TX_SCHEDULER_STATUS_OK,
          strictSubmission, AethorMonotonicTimestampUs());
#else
      submitStatus = stm32_platform_can_submit(pendingPriority, &pendingFrame);
#endif
#if AETHOR_ADRC_BENCH || AETHOR_ADRC_LCD_INTEGRATED
      if (submitStatus != CAN_TX_SCHEDULER_STATUS_OK)
      { aethor_app_adrc_report_capability_transmit(&pendingFrame, 0U, AethorMonotonicTimestampUs()); }
#else
      (void)submitStatus;
#endif
    }
#if AETHOR_MOTOR_PERSISTENCE_TRANSPORT
      taskEXIT_CRITICAL();
    }
    /* The strict maintenance DISABLE hook is deferred until service_tx immediately before HAL.
     * Keep its App owner decision inside the task boundary as well as Platform's IRQ mask. */
    taskENTER_CRITICAL();
#endif
#if AETHOR_ADRC_BENCH || AETHOR_ADRC_LCD_INTEGRATED
    /* The fixed-read collector waits a full clock advance after request creation.
     * Publishing here never invents microsecond resolution for the 1 ms board clock. */
    taskENTER_CRITICAL();
    timestampUs = AethorMonotonicTimestampUs();
    stm32_platform_can_observe_rx_boundary(timestampUs);
    aethor_app_adrc_observe_capability_rx_boundary(stm32_platform_can_capability_rx_boundary());
    taskEXIT_CRITICAL();
    (void)stm32_platform_can_service_tx(ARM_JOINT_COUNT);
#else
    (void)stm32_platform_can_service_tx(ARM_JOINT_COUNT);
#endif
#if AETHOR_MOTOR_PERSISTENCE_TRANSPORT
    taskEXIT_CRITICAL();
#endif
#if AETHOR_DEBUG_UI_ENABLE
    if (cyclesPerMicrosecond != 0U)
    {
      uint32_t elapsedUs = (DWT->CYCCNT - controlStartCycle) /
          cyclesPerMicrosecond;
      if (elapsedUs > controlExecutionMaxUs)
      {
        controlExecutionMaxUs = elapsedUs;
      }
      if (controlCycleValid != 0U)
      {
        uint32_t periodUs = (controlStartCycle - controlPreviousCycle) /
            cyclesPerMicrosecond;
        if (periodUs > controlPeriodMaxUs)
        {
          controlPeriodMaxUs = periodUs;
        }
      }
      controlPreviousCycle = controlStartCycle;
      controlCycleValid = 1U;
    }
#endif
    vTaskDelayUntil(&lastWakeTime, pdMS_TO_TICKS(4U));
  }
  /* USER CODE END StartArmControlTask */
}

/* USER CODE BEGIN Header_StartCanRxTask */
/**
  * @brief  Waits for FDCAN RX notification before bounded task-context decode.
  * @param  argument: Not used
  * @retval None
  */
/* USER CODE END Header_StartCanRxTask */
void StartCanRxTask(void const * argument)
{
  (void)argument;
  for(;;)
  {
    uint8_t processedFrameCount = 0U;
    CanFrame receivedFrame;
    uint64_t arrivalLowerBoundUs = 0ULL;

    while ((processedFrameCount < CAN_RX_INBOX_CAPACITY) &&
           (stm32_platform_can_pop_received_at(&receivedFrame, &arrivalLowerBoundUs) ==
            CAN_RX_INBOX_STATUS_OK))
    {
      taskENTER_CRITICAL();
#if AETHOR_DEBUG_UI_ALLOW_MOTION && (AETHOR_DEBUG_UI_ALLOW_STATIC_LOAD || AETHOR_DEBUG_UI_ALLOW_SINGLE_STATIC_LOAD || AETHOR_DEBUG_UI_ALLOW_POS_LOAD_TEST)
      {
        uint64_t receivedObservedUs = AethorMonotonicTimestampUs();
#if AETHOR_ADRC_BENCH || AETHOR_ADRC_LCD_INTEGRATED
        CollectCapabilityReceipt(receivedObservedUs);
#endif
        ReceiveSingleStaticFrame(&receivedFrame, arrivalLowerBoundUs, receivedObservedUs);
      }
#else
#if AETHOR_ADRC_BENCH || AETHOR_ADRC_LCD_INTEGRATED
      {
        uint64_t receivedObservedUs = AethorMonotonicTimestampUs();
        CollectCapabilityReceipt(receivedObservedUs);
        (void)aethor_app_receive_can_frame_observed(&receivedFrame, arrivalLowerBoundUs, receivedObservedUs);
      }
#else
      (void)aethor_app_receive_can_frame(&receivedFrame, arrivalLowerBoundUs);
#endif
#endif
      taskEXIT_CRITICAL();
      ++processedFrameCount;
    }
    if (processedFrameCount < CAN_RX_INBOX_CAPACITY)
    {
      (void)ulTaskNotifyTake(pdTRUE, portMAX_DELAY);
    }
    else
    {
      taskYIELD();
    }
  }
}

/* USER CODE BEGIN Header_StartProtocolTask */
/**
  * @brief  Owns USB startup and waits for complete protocol input work.
  * @param  argument: Not used
  * @retval None
  */
/* USER CODE END Header_StartProtocolTask */
void StartProtocolTask(void const * argument)
{
  char protocolLine[USB_CDC_STREAM_LINE_CAPACITY];
  ProtocolOutputBatch outputBatch;

  MX_USB_DEVICE_Init();
  (void)argument;
  for(;;)
  {
    UsbCdcStreamStatus lineStatus;
#if AETHOR_DEBUG_UI_ENABLE
    uint8_t protocolLinesProcessed = 0U;
#endif

    (void)ulTaskNotifyTake(pdTRUE, portMAX_DELAY);
    while (aethor_app_pop_protocol_result_output(&outputBatch) != 0U)
    {
      QueueProtocolOutputBatch(&outputBatch);
    }
#if AETHOR_DEBUG_UI_ENABLE
    aethor_app_debug_ui_process(AethorMonotonicTimestampUs());
#endif
    do
    {
      uint16_t lineLength = 0U;

      lineStatus = stm32_platform_usb_next_line(protocolLine,
                                                sizeof(protocolLine),
                                                &lineLength);
      if (lineStatus == USB_CDC_STREAM_STATUS_OK)
      {
#if AETHOR_MOTOR_PERSISTENCE_TRANSPORT
        /* Keep sampling and maintenance dispatch atomic against the higher-priority Control/RX tasks. */
        taskENTER_CRITICAL();
#endif
        (void)aethor_app_process_protocol_line(
            protocolLine,
            lineLength,
            AethorMonotonicTimestampUs(),
            &outputBatch);
#if AETHOR_MOTOR_PERSISTENCE_TRANSPORT
        taskEXIT_CRITICAL();
#endif
        QueueProtocolOutputBatch(&outputBatch);
      }
      else if (lineStatus == USB_CDC_STREAM_STATUS_LINE_TOO_LONG)
      {
        if (aethor_app_format_line_too_long(&outputBatch) ==
            PROTOCOL_ENGINE_STATUS_OK)
        {
          QueueProtocolOutputBatch(&outputBatch);
        }
      }
#if AETHOR_DEBUG_UI_ENABLE
      ++protocolLinesProcessed;
#endif
    } while (((lineStatus == USB_CDC_STREAM_STATUS_OK) ||
              (lineStatus == USB_CDC_STREAM_STATUS_LINE_TOO_LONG))
#if AETHOR_DEBUG_UI_ENABLE
             && (protocolLinesProcessed < 4U)
#endif
             );
    {
      uint64_t timestampUs = AethorMonotonicTimestampUs();

      if (aethor_app_generate_stream_output(timestampUs, &outputBatch) != 0U)
      {
        QueueProtocolOutputBatch(&outputBatch);
      }
    }
#if AETHOR_DEBUG_UI_ENABLE
    /* Keep the sole producer responsive even under continuous USB input. */
    aethor_app_debug_ui_process(AethorMonotonicTimestampUs());
    if (protocolLinesProcessed >= 4U)
    {
      (void)xTaskNotifyGive((TaskHandle_t)ProtocolTaskHandle);
      vTaskDelay(pdMS_TO_TICKS(1U));
    }
#endif
  }
}

/* USER CODE BEGIN Header_StartUsbTxTask */
/**
  * @brief  Services priority-ordered USB CDC output without blocking control.
  * @param  argument: Not used
  * @retval None
  */
/* USER CODE END Header_StartUsbTxTask */
void StartUsbTxTask(void const * argument)
{
  (void)argument;
  for(;;)
  {
    (void)ulTaskNotifyTake(pdTRUE, pdMS_TO_TICKS(1U));
    stm32_platform_usb_service_tx();
  }
}

/* USER CODE BEGIN Header_StartTelemetryTask */
/**
  * @brief  Reserves the default 50 Hz telemetry publication cadence.
  * @param  argument: Not used
  * @retval None
  */
/* USER CODE END Header_StartTelemetryTask */
void StartTelemetryTask(void const * argument)
{
  TickType_t lastWakeTime = xTaskGetTickCount();

  (void)argument;
  for(;;)
  {
    if (ProtocolTaskHandle != NULL)
    {
      (void)xTaskNotifyGive((TaskHandle_t)ProtocolTaskHandle);
    }
    vTaskDelayUntil(&lastWakeTime, pdMS_TO_TICKS(10U));
  }
}

/* USER CODE BEGIN Header_StartDiagnosticsTask */
/**
  * @brief  Reserves the 100 ms diagnostics aggregation cadence.
  * @param  argument: Not used
  * @retval None
  */
/* USER CODE END Header_StartDiagnosticsTask */
void StartDiagnosticsTask(void const * argument)
{
  TickType_t lastWakeTime = xTaskGetTickCount();
  uint32_t previousCanRxOverflowCount = 0U;
  uint32_t previousCanBusOffCount = 0U;
  uint32_t previousUsbHighQueueFullCount = 0U;

  (void)argument;
  for(;;)
  {
    const Stm32PlatformDiagnostics *platformDiagnostics =
        stm32_platform_get_diagnostics();
    RuntimeDiagnosticSample runtimeSample;
    TaskHandle_t applicationTaskHandles[AETHOR_STATIC_TASK_COUNT];
    uint32_t minimumStackWords = UINT32_MAX;
    const uint32_t applicationStackWords[AETHOR_STATIC_TASK_COUNT] = {
      sizeof(armControlTaskBuffer) / sizeof(armControlTaskBuffer[0]),
      sizeof(canRxTaskBuffer) / sizeof(canRxTaskBuffer[0]),
      sizeof(protocolTaskBuffer) / sizeof(protocolTaskBuffer[0]),
      sizeof(usbTxTaskBuffer) / sizeof(usbTxTaskBuffer[0]),
      sizeof(telemetryTaskBuffer) / sizeof(telemetryTaskBuffer[0]),
      sizeof(diagnosticsTaskBuffer) / sizeof(diagnosticsTaskBuffer[0])
#if AETHOR_DEBUG_UI_ENABLE
      , sizeof(debugUiTaskBuffer) / sizeof(debugUiTaskBuffer[0])
#endif
    };
    uint8_t taskIndex;

    memset(&runtimeSample, 0, sizeof(runtimeSample));
    applicationTaskHandles[0] = (TaskHandle_t)ArmControlTaskHandle;
    applicationTaskHandles[1] = (TaskHandle_t)CanRxTaskHandle;
    applicationTaskHandles[2] = (TaskHandle_t)ProtocolTaskHandle;
    applicationTaskHandles[3] = (TaskHandle_t)UsbTxTaskHandle;
    applicationTaskHandles[4] = (TaskHandle_t)TelemetryTaskHandle;
    applicationTaskHandles[5] = (TaskHandle_t)DiagnosticsTaskHandle;
#if AETHOR_DEBUG_UI_ENABLE
    applicationTaskHandles[6] = (TaskHandle_t)DebugUiTaskHandle;
#endif
    for (taskIndex = 0U; taskIndex < AETHOR_STATIC_TASK_COUNT; ++taskIndex)
    {
      if (applicationTaskHandles[taskIndex] != NULL)
      {
        UBaseType_t stackWords = uxTaskGetStackHighWaterMark(
            applicationTaskHandles[taskIndex]);

        runtimeSample.task_stacks[taskIndex].free_words = (uint32_t)stackWords;
        runtimeSample.task_stacks[taskIndex].allocated_words = applicationStackWords[taskIndex];

        if ((uint32_t)stackWords < minimumStackWords)
        {
          minimumStackWords = (uint32_t)stackWords;
        }
      }
    }
    runtimeSample.can_rx_frames = platformDiagnostics->can_rx_frame_count;
    runtimeSample.can_tx_frames = platformDiagnostics->can_tx_success_count;
    runtimeSample.can_rx_overflow_count =
        platformDiagnostics->can_rx_overflow_count;
    runtimeSample.can_tx_error_count = platformDiagnostics->can_tx_error_count;
    runtimeSample.can_bus_off_count = platformDiagnostics->can_bus_off_count;
    runtimeSample.can_tx_queue_high_watermark =
        platformDiagnostics->can_tx_queue_high_watermark;
    runtimeSample.control_group_reject_count =
        platformDiagnostics->control_group_reject_count;
    runtimeSample.usb_rx_bytes = platformDiagnostics->usb_rx_byte_count;
    runtimeSample.usb_rx_overflow_count =
        platformDiagnostics->usb_rx_overflow_count;
    runtimeSample.usb_overlong_line_count =
        platformDiagnostics->usb_overlong_line_count;
    runtimeSample.usb_high_queue_high_watermark =
        platformDiagnostics->usb_high_queue_high_watermark;
    runtimeSample.usb_query_queue_high_watermark =
        platformDiagnostics->usb_query_queue_high_watermark;
    runtimeSample.usb_telemetry_queue_high_watermark =
        platformDiagnostics->usb_telemetry_queue_high_watermark;
    runtimeSample.usb_telemetry_drop_count =
        platformDiagnostics->usb_telemetry_drop_count;
    runtimeSample.usb_high_queue_full_count =
        platformDiagnostics->usb_high_queue_full_count;
    runtimeSample.usb_transmit_busy_count =
        platformDiagnostics->usb_transmit_busy_count;
    runtimeSample.usb_transmit_error_count =
        platformDiagnostics->usb_transmit_error_count;
    runtimeSample.control_group_skew_max_us =
        DIAGNOSTIC_WATERMARK_NOT_SAMPLED;
    runtimeSample.minimum_stack_words = minimumStackWords;
    runtimeSample.minimum_heap_bytes = (uint32_t)xPortGetFreeHeapSize();
    aethor_app_update_runtime_diagnostics(&runtimeSample);
    {
      uint32_t transportFaultDetail = 0U;

      if (platformDiagnostics->can_rx_overflow_count >
          previousCanRxOverflowCount)
      {
        transportFaultDetail |= 1U;
      }
      if (platformDiagnostics->can_bus_off_count > previousCanBusOffCount)
      {
        transportFaultDetail |= 2U;
      }
      if (platformDiagnostics->usb_high_queue_full_count >
          previousUsbHighQueueFullCount)
      {
        transportFaultDetail |= 4U;
      }
      previousCanRxOverflowCount =
          platformDiagnostics->can_rx_overflow_count;
      previousCanBusOffCount = platformDiagnostics->can_bus_off_count;
      previousUsbHighQueueFullCount =
          platformDiagnostics->usb_high_queue_full_count;
      if ((transportFaultDetail != 0U) &&
           (aethor_app_report_transport_fault(
                transportFaultDetail,
                AethorMonotonicTimestampUs()) != 0U) &&
          (ArmControlTaskHandle != NULL))
      {
        (void)xTaskNotifyGive((TaskHandle_t)ArmControlTaskHandle);
      }
    }
    vTaskDelayUntil(&lastWakeTime, pdMS_TO_TICKS(100U));
  }
}

/* USER CODE BEGIN Application */

#if AETHOR_DEBUG_UI_ENABLE
/** @brief Wakes the sole command producer from the low-priority UI task. */
void AethorNotifyProtocolTask(void)
{
  if (ProtocolTaskHandle != NULL)
  {
    (void)xTaskNotifyGive((TaskHandle_t)ProtocolTaskHandle);
  }
}

/** @brief Returns the same monotonic clock used for command admission/control. */
uint64_t AethorUiTimestampUs(void)
{
  return AethorMonotonicTimestampUs();
}

/** @brief Copies DWT timing watermarks; no board measurements are fabricated. */
void AethorGetControlTiming(uint32_t *execution_max_us,
                            uint32_t *period_max_us)
{
  taskENTER_CRITICAL();
  if (execution_max_us != NULL)
  {
    *execution_max_us = controlExecutionMaxUs;
  }
  if (period_max_us != NULL)
  {
    *period_max_us = controlPeriodMaxUs;
  }
  taskEXIT_CRITICAL();
}
#endif

/** @brief Enters the scheduler boundary shared by app query readers. */
static void EnterAethorAppTaskCritical(void)
{
  taskENTER_CRITICAL();
}

/** @brief Exits the scheduler boundary shared by app query readers. */
static void ExitAethorAppTaskCritical(void)
{
  taskEXIT_CRITICAL();
}

/**
 * @brief Returns one shared 64-bit timestamp extended from the wrapping HAL tick.
 * @return Monotonic timestamp in microseconds.
 */
static uint64_t AethorMonotonicTimestampUs(void)
{
  uint64_t timestampUs;

  taskENTER_CRITICAL();
  timestampUs = aethor_monotonic_time_update(&aethorMonotonicTimeState,
                                              HAL_GetTick());
  taskEXIT_CRITICAL();
  return timestampUs;
}

/** @brief Wakes CanRxTask from the FDCAN receive callback. */
static void NotifyCanRxTaskFromIsr(void)
{
  BaseType_t higherPriorityTaskWoken = pdFALSE;

  if (CanRxTaskHandle != NULL)
  {
    vTaskNotifyGiveFromISR((TaskHandle_t)CanRxTaskHandle, &higherPriorityTaskWoken);
    portYIELD_FROM_ISR(higherPriorityTaskWoken);
  }
}

/** @brief Wakes ProtocolTask from the USB CDC receive callback. */
static void NotifyProtocolTaskFromIsr(void)
{
  BaseType_t higherPriorityTaskWoken = pdFALSE;

  if (ProtocolTaskHandle != NULL)
  {
    vTaskNotifyGiveFromISR((TaskHandle_t)ProtocolTaskHandle, &higherPriorityTaskWoken);
    portYIELD_FROM_ISR(higherPriorityTaskWoken);
  }
}

/** @brief Wakes UsbTxTask when the CDC endpoint releases its active buffer. */
static void NotifyUsbTxTaskFromIsr(void)
{
  BaseType_t higherPriorityTaskWoken = pdFALSE;

  if (UsbTxTaskHandle != NULL)
  {
    vTaskNotifyGiveFromISR((TaskHandle_t)UsbTxTaskHandle, &higherPriorityTaskWoken);
    portYIELD_FROM_ISR(higherPriorityTaskWoken);
  }
}

/** @brief Routes encoded protocol outputs into their bounded USB priority queues. */
static void QueueProtocolOutputBatch(const ProtocolOutputBatch *outputBatch)
{
  uint8_t messageIndex;

  configASSERT(outputBatch != NULL);
  for (messageIndex = 0U; messageIndex < outputBatch->count; ++messageIndex)
  {
    const ProtocolOutputMessage *message = &outputBatch->messages[messageIndex];

    taskENTER_CRITICAL();
    if (message->priority == PROTOCOL_OUTPUT_HIGH_PRIORITY)
    {
      (void)stm32_platform_usb_queue_high_priority(
          (const uint8_t *)message->data,
          message->length);
    }
    else if (message->priority == PROTOCOL_OUTPUT_QUERY)
    {
      (void)stm32_platform_usb_queue_query((const uint8_t *)message->data,
                                           message->length);
    }
    else
    {
      (void)stm32_platform_usb_queue_telemetry(
          (const uint8_t *)message->data,
          message->length);
    }
    taskEXIT_CRITICAL();
  }
  if (UsbTxTaskHandle != NULL)
  {
    (void)xTaskNotifyGive((TaskHandle_t)UsbTxTaskHandle);
  }
}

/* USER CODE END Application */
